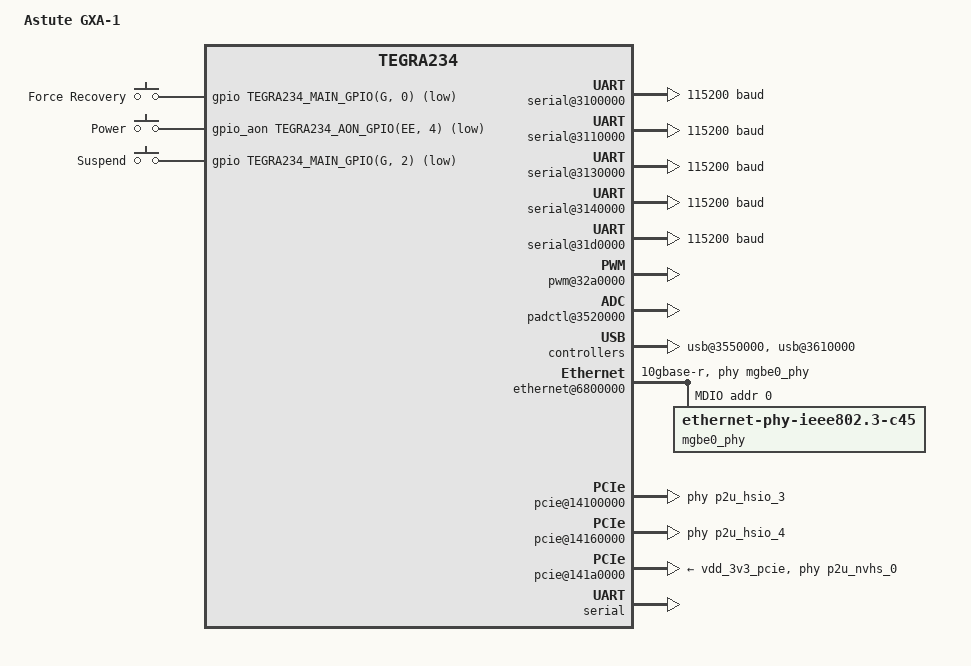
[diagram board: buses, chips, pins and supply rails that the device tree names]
// This file source is in /SystemX/sources/Linux_for_Tegra/source/hardware/nvidia/t23x/nv-public/tegra234-p3737-0000+p3701-0000.dts
// Run ./dtbs_build.sh
// Copy compiled binary. sudo cp /SystemX/sources/Linux_for_Tegra/source/kernel-devicetree/generic-dts/dtbs/tegra234-p3737-0000+p3701-0000-nv.dtb /SystemX/sources/Linux_for_Tegra/kernel/dtb/
// run flash.sh

// SPDX-License-Identifier: GPL-2.0
/dts-v1/;

#include <dt-bindings/input/linux-event-codes.h>
#include <dt-bindings/input/gpio-keys.h>

#include "tegra234-p3701-0000.dtsi"
#include "tegra234-p3737-0000.dtsi"

/ {
	// model = "NVIDIA Jetson AGX Orin Developer Kit";
	model = "Astute GXA-1";
	compatible = "nvidia,p3737-0000+p3701-0000", "nvidia,p3701-0000", "nvidia,tegra234";

	aliases {
		serial0 = &tcu;
		serial2 = &{/bus@0/serial@3140000};
		serial4 = &{/bus@0/serial@3130000};
		serial3 = &{/bus@0/serial@3110000};
		serial1 = &{/bus@0/serial@3100000};
	};

	chosen {
		bootargs = "console=ttyTCU0,115200n8";
		stdout-path = "serial0:115200n8";
	};

	bus@0 {
		serial@3100000 {
			current-speed = <115200>;
			status = "okay";
		};
		serial@3110000 {
			current-speed = <115200>;
			status = "okay";
		};
		serial@3130000 {
			current-speed = <115200>;
			status = "okay";
		};
		serial@3140000 {
			current-speed = <115200>;
			status = "okay";
		};
		serial@31d0000 {
			current-speed = <115200>;
			status = "okay";
		};
		
		pwm@32a0000 {
			assigned-clocks = <&bpmp TEGRA234_CLK_PWM3>;
			assigned-clock-parents = <&bpmp TEGRA234_CLK_PLLP_OUT0>;
			status = "okay";
		};

		hda@3510000 {
			nvidia,model = "NVIDIA Jetson AGX Orin HDA";
			status = "okay";
		};

		padctl@3520000 {
			status = "okay";

			pads {
				usb2 {
					lanes {
						usb2-0 {
							nvidia,function = "xusb";
							status = "okay"; // usb debug
						};

						usb2-1 {
							nvidia,function = "xusb";
							status = "okay"; // goes to usb hub
						};

						usb2-2 {
							nvidia,function = "xusb";
							status = "okay"; // standalone usb hub
						};

						usb2-3 {
							nvidia,function = "xusb";
							status = "disabled"; // not using so disabling
						};
					};
				};

				usb3 {
					lanes {
						usb3-0 {
							nvidia,function = "xusb";
							status = "disabled"; // not using so disabling
						};

						usb3-1 {
							nvidia,function = "xusb";
							status = "okay"; // goes to usb hub
						};

						usb3-2 {
							nvidia,function = "xusb";
							status = "disabled"; // not using so disabling
						};
					};
				};
			};

			ports {
				usb2-0 {
					mode = "otg";
					// mode = "device";
					usb-role-switch;
					vbus-supply = <&vdd_5v0_sys>;
					status = "okay"; // usb debug
				};

				usb2-1 {
					mode = "host";
					status = "okay"; // goes to usb hub
					vbus-supply = <&vdd_5v0_sys>;
				};

				usb2-2 {
					mode = "host";
					vbus-supply = <&vbus_usb2_2>;
					status = "okay"; // standalone usb port
				};

				usb2-3 {
					mode = "host";
					vbus-supply = <&vdd_5v0_sys>;
					status = "disabled"; // not using so disabling
				};

				usb3-0 {
					nvidia,usb2-companion = <3>; // changed from 1 (not using)
					status = "disabled"; // not using so disabling
				};

				usb3-1 {
					nvidia,usb2-companion = <1>; // changed from 0
					status = "okay"; // goes to usb hub
				};

				usb3-2 {
					nvidia,usb2-companion = <2>; // changed from 3
					status = "disabled"; // not using to disabling
				};
			};
		};

		usb@3550000 {
			status = "okay";

			phys = <&{/bus@0/padctl@3520000/pads/usb2/lanes/usb2-1}>,
			       <&{/bus@0/padctl@3520000/pads/usb3/lanes/usb3-1}>;
			phy-names = "usb2-1", "usb3-1"; // changing usb2-0 to usb2-1
		};

		usb@3610000 {
			status = "okay";

			phys = <&{/bus@0/padctl@3520000/pads/usb2/lanes/usb2-0}>,
			       <&{/bus@0/padctl@3520000/pads/usb2/lanes/usb2-1}>,
			       <&{/bus@0/padctl@3520000/pads/usb2/lanes/usb2-2}>,
			       <&{/bus@0/padctl@3520000/pads/usb2/lanes/usb2-3}>,
			       <&{/bus@0/padctl@3520000/pads/usb3/lanes/usb3-0}>,
			       <&{/bus@0/padctl@3520000/pads/usb3/lanes/usb3-1}>,
			       <&{/bus@0/padctl@3520000/pads/usb3/lanes/usb3-2}>;
			phy-names = "usb2-0", "usb2-1", "usb2-2", "usb2-3",
				    "usb3-0", "usb3-1", "usb3-2";
		};

		ethernet@6800000 {
			status = "okay";
			phy-handle = <&mgbe0_phy>;
			phy-mode = "10gbase-r";
			nvidia,phy-reset-gpio = <&gpio TEGRA234_MAIN_GPIO(Y, 1) 0>; // added

			mdio {
				#address-cells = <1>;
				#size-cells = <0>;

				mgbe0_phy: phy@0 {
					compatible = "ethernet-phy-ieee802.3-c45";
					reg = <0x0>;

					#phy-cells = <0>;
				};
			};
		};
		
		pcie@14100000 {
			status = "okay";

			vddio-pex-ctl-supply = <&vdd_1v8_ao>;

			phys = <&p2u_hsio_3>;
			phy-names = "p2u-0";
		};

		pcie@14160000 {
			status = "okay";

			vddio-pex-ctl-supply = <&vdd_1v8_ao>;

			phys = <&p2u_hsio_4>, <&p2u_hsio_5>, <&p2u_hsio_6>,
			       <&p2u_hsio_7>;
			phy-names = "p2u-0", "p2u-1", "p2u-2", "p2u-3";
		};

		pcie@141a0000 {
			status = "okay";

			vddio-pex-ctl-supply = <&vdd_1v8_ls>;
			vpcie3v3-supply = <&vdd_3v3_pcie>;
			vpcie12v-supply = <&vdd_12v_pcie>;

			phys = <&p2u_nvhs_0>, <&p2u_nvhs_1>, <&p2u_nvhs_2>,
			       <&p2u_nvhs_3>, <&p2u_nvhs_4>, <&p2u_nvhs_5>,
			       <&p2u_nvhs_6>, <&p2u_nvhs_7>;
			phy-names = "p2u-0", "p2u-1", "p2u-2", "p2u-3", "p2u-4",
				    "p2u-5", "p2u-6", "p2u-7";
		};

		pcie-ep@141a0000 {
			status = "disabled";

			vddio-pex-ctl-supply = <&vdd_1v8_ls>;

			reset-gpios = <&gpio TEGRA234_MAIN_GPIO(AF, 1) GPIO_ACTIVE_LOW>;

			nvidia,refclk-select-gpios = <&gpio_aon
						      TEGRA234_AON_GPIO(AA, 4)
						      GPIO_ACTIVE_HIGH>;

			phys = <&p2u_nvhs_0>, <&p2u_nvhs_1>, <&p2u_nvhs_2>,
			       <&p2u_nvhs_3>, <&p2u_nvhs_4>, <&p2u_nvhs_5>,
			       <&p2u_nvhs_6>, <&p2u_nvhs_7>;
			phy-names = "p2u-0", "p2u-1", "p2u-2", "p2u-3", "p2u-4",
				    "p2u-5", "p2u-6", "p2u-7";
		};
	};

	gpio-keys {
		compatible = "gpio-keys";
		status = "okay";

		key-force-recovery {
			label = "Force Recovery";
			gpios = <&gpio TEGRA234_MAIN_GPIO(G, 0) GPIO_ACTIVE_LOW>;
			linux,input-type = <EV_KEY>;
			linux,code = <BTN_1>;
		};

		key-power {
			label = "Power";
			gpios = <&gpio_aon TEGRA234_AON_GPIO(EE, 4) GPIO_ACTIVE_LOW>;
			linux,input-type = <EV_KEY>;
			linux,code = <KEY_POWER>;
			wakeup-event-action = <EV_ACT_ASSERTED>;
			wakeup-source;
		};

		key-suspend {
			label = "Suspend";
			gpios = <&gpio TEGRA234_MAIN_GPIO(G, 2) GPIO_ACTIVE_LOW>;
			linux,input-type = <EV_KEY>;
			linux,code = <KEY_SLEEP>;
		};
	};

	serial {
		status = "okay";
	};
	
	thermal-zones {
		tj-thermal {
			cooling-maps {
				map-active-0 {
					trip = <&tj_trip_active0>;
				};

				map-active-1 {
					trip = <&tj_trip_active1>;
				};
			};
		};
	};
};
